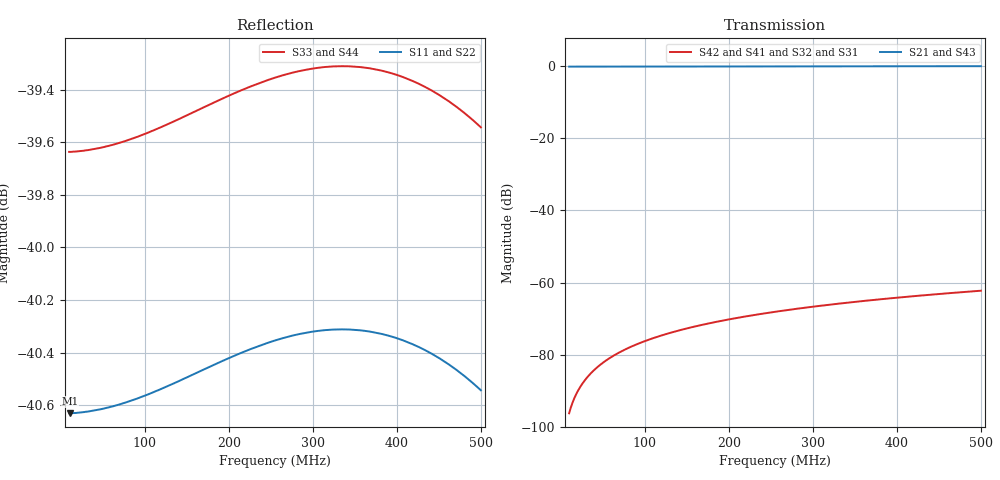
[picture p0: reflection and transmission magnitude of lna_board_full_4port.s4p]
! Created with skrf 2.1.0 (http://scikit-rf.org).
# MHz S RI R 50.0
!freq ReS11 ImS11 ReS12 ImS12 ReS13 ImS13
! ReS14 ImS14
! ReS21 ImS21 ReS22 ImS22 ReS23 ImS23
! ReS24 ImS24
! ReS31 ImS31 ReS32 ImS32 ReS33 ImS33
! ReS34 ImS34
! ReS41 ImS41 ReS42 ImS42 ReS43 ImS43
! ReS44 ImS44
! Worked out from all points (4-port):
!   491 points, 10 MHz to 500 MHz, reference 50 ohm
!   strongest paths, dB at 10 MHz, 132 MHz, 255 MHz, 378 MHz, 500 MHz:
!     S21: -0.1, -0.1, -0.1, 0.0, 0.0
!     S43: -0.2, -0.1, -0.1, 0.0, 0.0
!     S42: -96.2, -73.8, -68.1, -64.7, -62.2
!     S41: -96.2, -73.8, -68.1, -64.7, -62.2
!     S32: -96.2, -73.8, -68.1, -64.7, -62.2
!     S31: -96.2, -73.8, -68.1, -64.7, -62.2
!   lowest |S11| = -40.6 dB at 11 MHz (marker M1), VSWR 1.02, Z = 49.1 + j0.0454 ohm
!   |S11| at or under -10 dB: start of sweep to end of sweep
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10  -0.00929 0.00042  0.9838 -0.00273  1.54e-05 -1.72e-07  1.54e-05 -1.72e-07
    0.9838 -0.00273  -0.00929 0.00042  1.54e-05 -1.72e-07  1.54e-05 -1.72e-07
    1.54e-05 -1.72e-07  1.54e-05 -1.72e-07  -0.0104 0.000475  0.9819 -0.00306
    1.54e-05 -1.72e-07  1.54e-05 -1.72e-07  0.9819 -0.00306  -0.0104 0.000475
11  -0.00929 0.000462  0.9838 -0.003  1.7e-05 -2.08e-07  1.7e-05 -2.08e-07
    0.9838 -0.003  -0.00929 0.000462  1.7e-05 -2.08e-07  1.7e-05 -2.08e-07
    1.7e-05 -2.08e-07  1.7e-05 -2.08e-07  -0.0104 0.000522  0.9819 -0.00337
    1.7e-05 -2.08e-07  1.7e-05 -2.08e-07  0.9819 -0.00337  -0.0104 0.000522
64  -0.00895 0.00263  0.9843 -0.0176  9.86e-05 -7.04e-06  9.86e-05 -7.04e-06
    0.9843 -0.0176  -0.00895 0.00263  9.86e-05 -7.04e-06  9.86e-05 -7.04e-06
    9.86e-05 -7.04e-06  9.86e-05 -7.04e-06  -0.01 0.00298  0.9823 -0.0197
    9.86e-05 -7.04e-06  9.86e-05 -7.04e-06  0.9823 -0.0197  -0.01 0.00298
134  -0.00788 0.00516  0.9855 -0.0374  0.000205 -3.08e-05  0.000205 -3.08e-05
     0.9855 -0.0374  -0.00788 0.00516  0.000205 -3.08e-05  0.000205 -3.08e-05
     0.000205 -3.08e-05  0.000205 -3.08e-05  -0.00882 0.00582  0.9837 -0.042
     0.000205 -3.08e-05  0.000205 -3.08e-05  0.9837 -0.042  -0.00882 0.00582
239  -0.00559 0.00778  0.9878 -0.0693  0.000356 -9.71e-05  0.000356 -9.71e-05
     0.9878 -0.0693  -0.00559 0.00778  0.000356 -9.71e-05  0.000356 -9.71e-05
     0.000356 -9.71e-05  0.000356 -9.71e-05  -0.0062 0.00878  0.9859 -0.0777
     0.000356 -9.71e-05  0.000356 -9.71e-05  0.9859 -0.0777  -0.0062 0.00878
354  -0.00314 0.00912  0.9887 -0.1068  0.000505 -0.00021  0.000505 -0.00021
     0.9887 -0.1068  -0.00314 0.00912  0.000505 -0.00021  0.000505 -0.00021
     0.000505 -0.00021  0.000505 -0.00021  -0.00338 0.0103  0.9865 -0.1199
     0.000505 -0.00021  0.000505 -0.00021  0.9865 -0.1199  -0.00338 0.0103
500  -0.00101 0.00934  0.9857 -0.1566  0.000655 -0.000408  0.000655 -0.000408
     0.9857 -0.1566  -0.00101 0.00934  0.000655 -0.000408  0.000655 -0.000408
     0.000655 -0.000408  0.000655 -0.000408  -0.000934 0.0105  0.9822 -0.1757
     0.000655 -0.000408  0.000655 -0.000408  0.9822 -0.1757  -0.000934 0.0105
